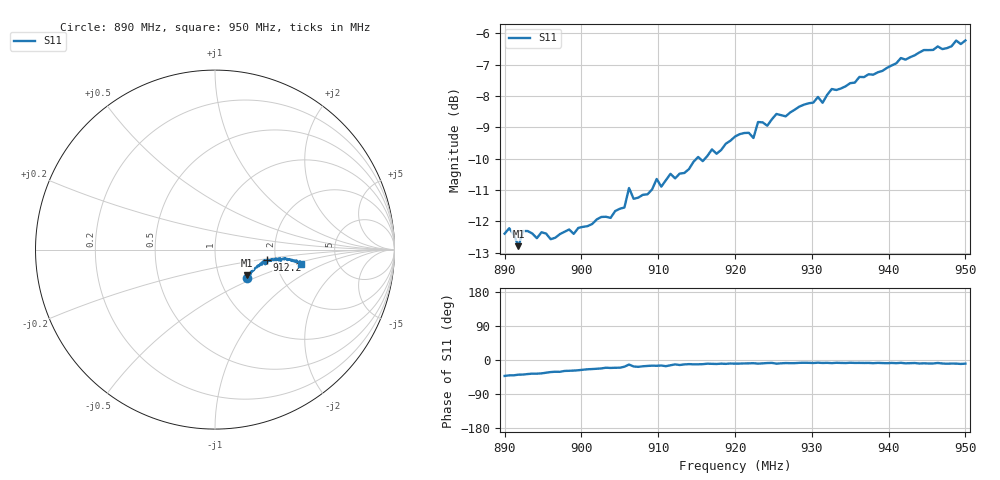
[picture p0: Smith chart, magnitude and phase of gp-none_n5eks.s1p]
# HZ S RI R 50
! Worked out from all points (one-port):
!   101 points, 890 MHz to 950 MHz, reference 50 ohm
!   lowest |S11| = -12.8 dB at 891.8 MHz (marker M1), VSWR 1.59, Z = 68.2 - j20.6 ohm
!   |S11| at or under -10 dB: start of sweep to 915 MHz; 915.4355 MHz to 916.0953 MHz (659.9 kHz wide, 0.0721 % of centre)
!   S11 on the Smith chart (normalised r, x): 890 MHz: 1.34, -0.46; 912.2 MHz: 1.79, -0.23; 950 MHz: 2.76, -0.59
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8.9e8  0.1783 -0.1607
8.906e8  0.1861 -0.1591
8.918e8  0.1789 -0.1433
8.924e8  0.1899 -0.1506
8.96e8  0.1998 -0.124
8.978e8  0.2116 -0.1167
9.05e8  0.2466 -0.0915
9.056e8  0.2517 -0.0804
9.062e8  0.2777 -0.059
9.074e8  0.2604 -0.085
9.086e8  0.267 -0.0749
9.098e8  0.283 -0.0773
9.104e8  0.2761 -0.0716
9.11e8  0.2803 -0.082
9.122e8  0.288 -0.0592
9.128e8  0.2914 -0.0685
9.2e8  0.3379 -0.0578
9.224e8  0.3374 -0.0499
9.23e8  0.3567 -0.0602
9.242e8  0.3533 -0.05
9.254e8  0.3673 -0.0626
9.278e8  0.3747 -0.0544
9.308e8  0.3935 -0.0492
9.314e8  0.3846 -0.0528
9.326e8  0.4042 -0.0583
9.35e8  0.4139 -0.0529
9.428e8  0.454 -0.0669
9.5e8  0.4812 -0.0817
